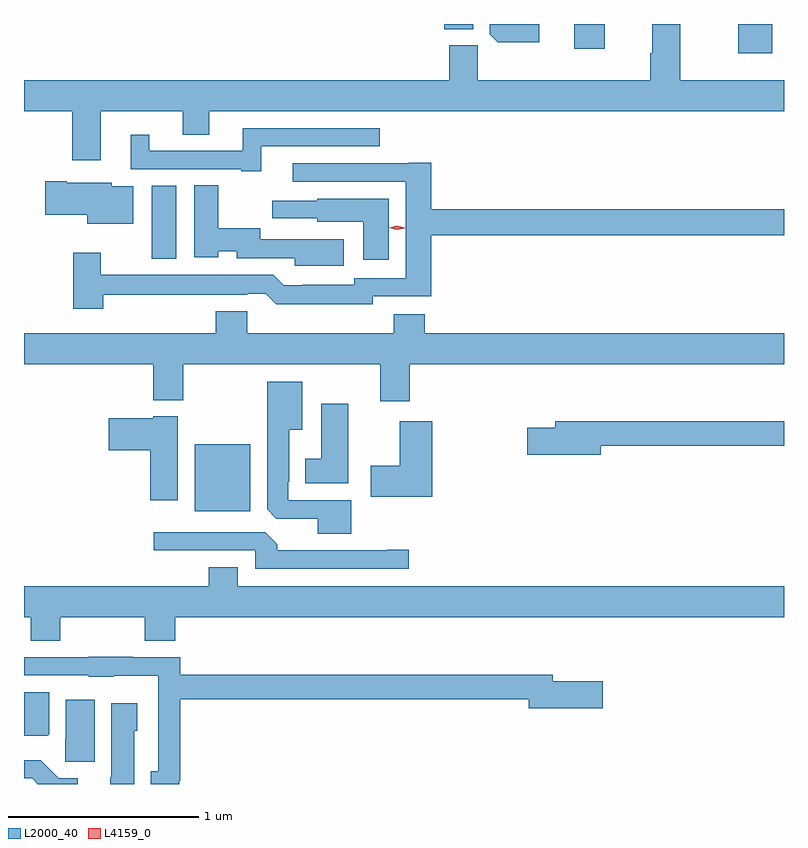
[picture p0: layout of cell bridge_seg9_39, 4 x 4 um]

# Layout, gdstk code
import gdstk
lib = gdstk.Library(unit=1e-6, precision=1e-09)
def R(c, l, rs):  # rectangles x0, y0, x1, y1
    for r in rs: c.add(gdstk.rectangle(r[:2], r[2:], *l))
def P(c, l, *ps):  # polygons
    for p in ps: c.add(gdstk.Polygon(p, *l))
L2000_40 = (2000, 40)
L4159_0 = (4159, 0)

bridge_seg9_39 = lib.new_cell('bridge_seg9_39')
R(bridge_seg9_39, L2000_40, [(925.046,1190.318,925.339,1190.671), (924.821,1191.647,924.949,1192.033), (927.907,1192.728,928.085,1192.883), (927.044,1192.752,927.205,1192.883), (926.36,1192.855,926.512,1192.883)])
P(bridge_seg9_39, L2000_40, [(924.553,1192.424),(924.983,1192.424),(924.983,1192.3),(925.123,1192.3),(925.123,1192.424),(928.148,1192.424),(928.148,1192.588),(927.603,1192.588),(927.603,1192.883),(927.455,1192.883),(927.455,1192.73),(927.443,1192.73),(927.443,1192.588),(926.537,1192.588),(926.537,1192.77),(926.387,1192.77),(926.387,1192.588),(924.148,1192.588),(924.148,1192.424),(924.401,1192.424),(924.401,1192.167),(924.553,1192.167)],
  [(926.86,1192.883),(926.6,1192.883),(926.6,1192.828),(926.641,1192.787),(926.86,1192.787)],
  [(925.396,1192.239),(926.02,1192.239),(926.02,1192.335),(925.298,1192.335),(925.298,1192.215),(924.808,1192.215),(924.808,1192.3),(924.71,1192.3),(924.71,1192.119),(925.292,1192.119),(925.292,1192.107),(925.396,1192.107)],
  [(924.566,1191.458),(925.322,1191.458),(925.322,1191.462),(925.421,1191.462),(925.476,1191.407),(925.983,1191.407),(925.983,1191.45),(926.291,1191.45),(926.291,1191.772),(928.148,1191.772),(928.148,1191.908),(926.291,1191.908),(926.291,1192.154),(926.174,1192.154),(926.174,1192.149),(925.563,1192.149),(925.563,1192.053),(926.156,1192.053),(926.156,1191.546),(925.887,1191.546),(925.887,1191.511),(925.615,1191.511),(925.615,1191.507),(925.515,1191.507),(925.46,1191.562),(924.553,1191.562),(924.553,1191.679),(924.406,1191.679),(924.406,1191.384),(924.566,1191.384)],
  [(924.724,1192.03),(924.609,1192.03),(924.609,1192.048),(924.373,1192.048),(924.373,1192.056),(924.261,1192.056),(924.261,1191.878),(924.482,1191.878),(924.482,1191.833),(924.724,1191.833)],
  [(925.831,1191.751),(925.392,1191.751),(925.392,1191.809),(925.171,1191.809),(925.171,1192.034),(925.043,1192.034),(925.043,1191.656),(925.171,1191.656),(925.171,1191.687),(925.268,1191.687),(925.268,1191.65),(925.572,1191.65),(925.572,1191.611),(925.831,1191.611)],
  [(926.068,1191.964),(925.692,1191.964),(925.692,1191.954),(925.455,1191.954),(925.455,1191.861),(925.692,1191.861),(925.692,1191.842),(925.934,1191.842),(925.934,1191.642),(926.068,1191.642)],
  [(926.177,1191.092),(928.148,1191.092),(928.148,1191.256),(926.258,1191.256),(926.258,1191.355),(926.093,1191.355),(926.093,1191.256),(925.322,1191.256),(925.322,1191.37),(925.157,1191.37),(925.157,1191.256),(924.148,1191.256),(924.148,1191.092),(924.827,1191.092),(924.827,1190.903),(924.987,1190.903),(924.987,1191.092),(926.024,1191.092),(926.024,1190.898),(926.177,1190.898)],
  [(925.87,1190.376),(925.539,1190.376),(925.539,1190.473),(925.543,1190.473),(925.543,1190.747),(925.612,1190.747),(925.612,1191.001),(925.427,1191.001),(925.427,1190.329),(925.476,1190.28),(925.694,1190.28),(925.694,1190.201),(925.87,1190.201)],
  [(925.855,1190.884),(925.712,1190.884),(925.712,1190.596),(925.628,1190.596),(925.628,1190.465),(925.855,1190.465)],
  [(924.958,1190.818),(924.828,1190.818),(924.828,1190.809),(924.594,1190.809),(924.594,1190.639),(924.812,1190.639),(924.812,1190.376),(924.958,1190.376)],
  [(926.296,1190.791),(926.126,1190.791),(926.126,1190.559),(925.974,1190.559),(925.974,1190.396),(926.296,1190.396)],
  [(927.184,1190.662),(928.148,1190.662),(928.148,1190.791),(926.945,1190.791),(926.945,1190.757),(926.796,1190.757),(926.796,1190.615),(927.184,1190.615)],
  [(926.173,1190.117),(926.06,1190.117),(926.06,1190.112),(925.481,1190.112),(925.481,1190.146),(925.419,1190.208),(924.831,1190.208),(924.831,1190.112),(925.365,1190.112),(925.365,1190.016),(926.173,1190.016)],
  [(925.121,1190.023),(925.121,1189.924),(924.148,1189.924),(924.148,1189.76),(924.184,1189.76),(924.184,1189.636),(924.339,1189.636),(924.339,1189.76),(924.784,1189.76),(924.784,1189.636),(924.944,1189.636),(924.944,1189.76),(928.148,1189.76),(928.148,1189.924),(925.273,1189.924),(925.273,1190.023)],
  [(924.964,1188.901),(924.971,1188.901),(924.971,1189.33),(926.804,1189.33),(926.804,1189.283),(927.193,1189.283),(927.193,1189.425),(926.932,1189.425),(926.932,1189.459),(924.971,1189.459),(924.971,1189.551),(924.721,1189.551),(924.721,1189.553),(924.489,1189.553),(924.489,1189.551),(924.148,1189.551),(924.148,1189.455),(924.489,1189.455),(924.489,1189.448),(924.621,1189.448),(924.621,1189.454),(924.855,1189.454),(924.855,1188.95),(924.815,1188.95),(924.815,1188.883),(924.964,1188.883)],
  [(924.28,1189.144),(924.28,1189.366),(924.148,1189.366),(924.148,1189.136),(924.272,1189.136)],
  [(924.52,1189.327),(924.368,1189.327),(924.368,1189.122),(924.364,1189.122),(924.364,1188.999),(924.52,1188.999)],
  [(924.727,1189.164),(924.745,1189.164),(924.745,1189.309),(924.608,1189.309),(924.608,1188.918),(924.602,1188.918),(924.602,1188.883),(924.727,1188.883)],
  [(924.43,1188.912),(924.33,1188.912),(924.235,1189.007),(924.148,1189.007),(924.148,1188.912),(924.192,1188.912),(924.221,1188.883),(924.43,1188.883)])
P(bridge_seg9_39, L4159_0, [(926.111,1191.8),(926.07,1191.811),(926.07,1191.811),(926.07,1191.811),(926.111,1191.82),(926.152,1191.81),(926.152,1191.81),(926.152,1191.809)])

lib.write_gds('bridge_seg9_39.gds')
